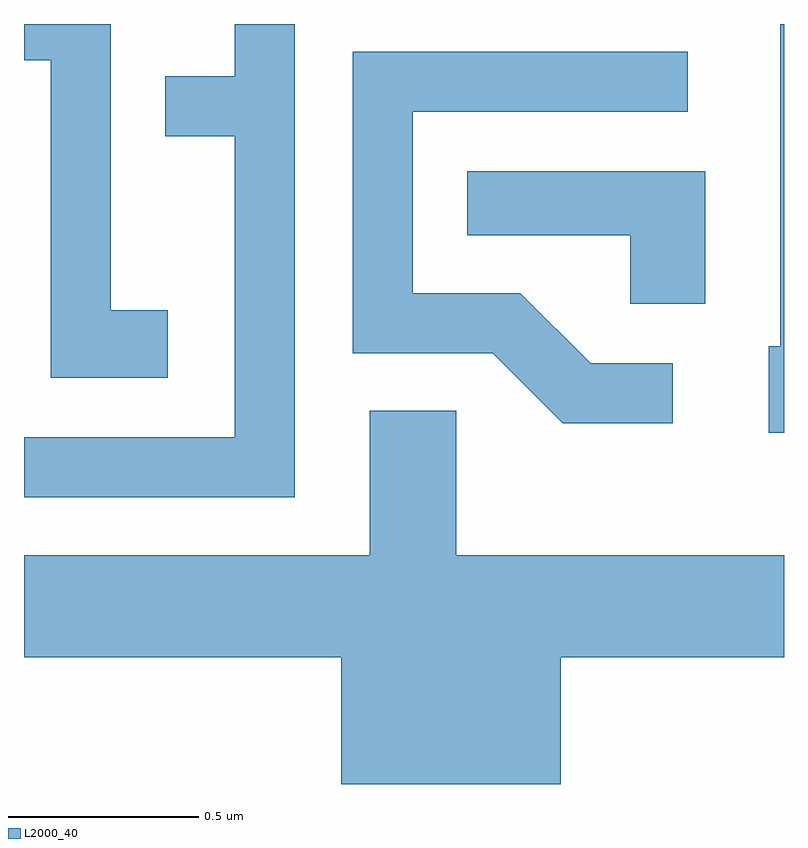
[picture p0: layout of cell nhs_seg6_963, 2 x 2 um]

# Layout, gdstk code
import gdstk
lib = gdstk.Library(unit=1e-6, precision=1e-09)
def P(c, l, *ps):  # polygons
    for p in ps: c.add(gdstk.Polygon(p, *l))
L2000_40 = (2000, 40)

nhs_seg6_963 = lib.new_cell('nhs_seg6_963')
P(nhs_seg6_963, L2000_40, [(192.989,1535.409),(192.839,1535.409),(192.839,1536.162),(192.611,1536.162),(192.611,1536.066),(192.681,1536.066),(192.681,1535.231),(192.989,1535.231)],
  [(193.324,1536.162),(193.166,1536.162),(193.166,1536.024),(192.983,1536.024),(192.983,1535.866),(193.166,1535.866),(193.166,1535.074),(192.611,1535.074),(192.611,1534.916),(193.324,1534.916)],
  [(194.611,1536.162),(194.601,1536.162),(194.601,1535.314),(194.571,1535.314),(194.571,1535.086),(194.611,1535.086)],
  [(194.318,1535.269),(194.102,1535.269),(193.917,1535.454),(193.634,1535.454),(193.634,1535.931),(194.358,1535.931),(194.358,1536.089),(193.476,1536.089),(193.476,1535.296),(193.844,1535.296),(194.029,1535.111),(194.318,1535.111)],
  [(194.404,1535.774),(193.778,1535.774),(193.778,1535.606),(194.206,1535.606),(194.206,1535.426),(194.404,1535.426)],
  [(194.024,1534.496),(194.611,1534.496),(194.611,1534.764),(193.749,1534.764),(193.749,1535.144),(193.521,1535.144),(193.521,1534.764),(192.611,1534.764),(192.611,1534.496),(193.446,1534.496),(193.446,1534.162),(194.024,1534.162)])

lib.write_gds('nhs_seg6_963.gds')
